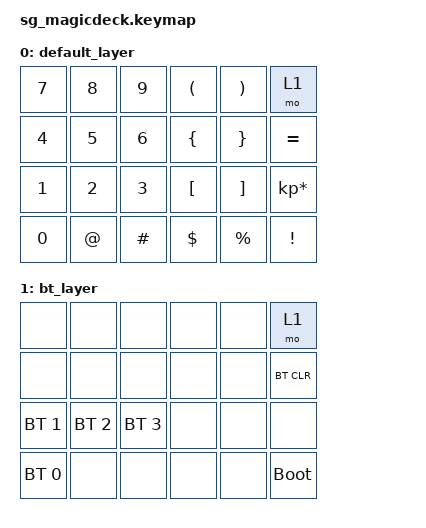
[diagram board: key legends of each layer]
#include <behaviors.dtsi>
#include <dt-bindings/zmk/keys.h>
#include <dt-bindings/zmk/bt.h>

/ {  
    keymap {
        compatible = "zmk,keymap";

        default_layer {
            bindings = <
                &kp N7     &kp N8     &kp N9   &kp LPAR    &kp RPAR    &mo 1
                &kp N4     &kp N5     &kp N6   &kp LBRC    &kp RBRC    &kp EQUAL
                &kp N1     &kp N2     &kp N3   &kp LBKT    &kp RBKT    &kp KP_ASTERISK
                &kp N0     &kp AT     &kp HASH &kp DLLR    &kp PRCNT   &kp EXCL
            >;
        }; 
        
        bt_layer {
            bindings = <
                &none            &none          &none           &none       &none       &mo 1
                &none            &none          &none           &none       &none       &bt BT_CLR
                &bt BT_SEL 1     &bt BT_SEL 2   &bt BT_SEL 3    &none       &none       &none
                &bt BT_SEL 0     &none          &none           &none       &none       &bootloader
            >;
        };
    };
};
